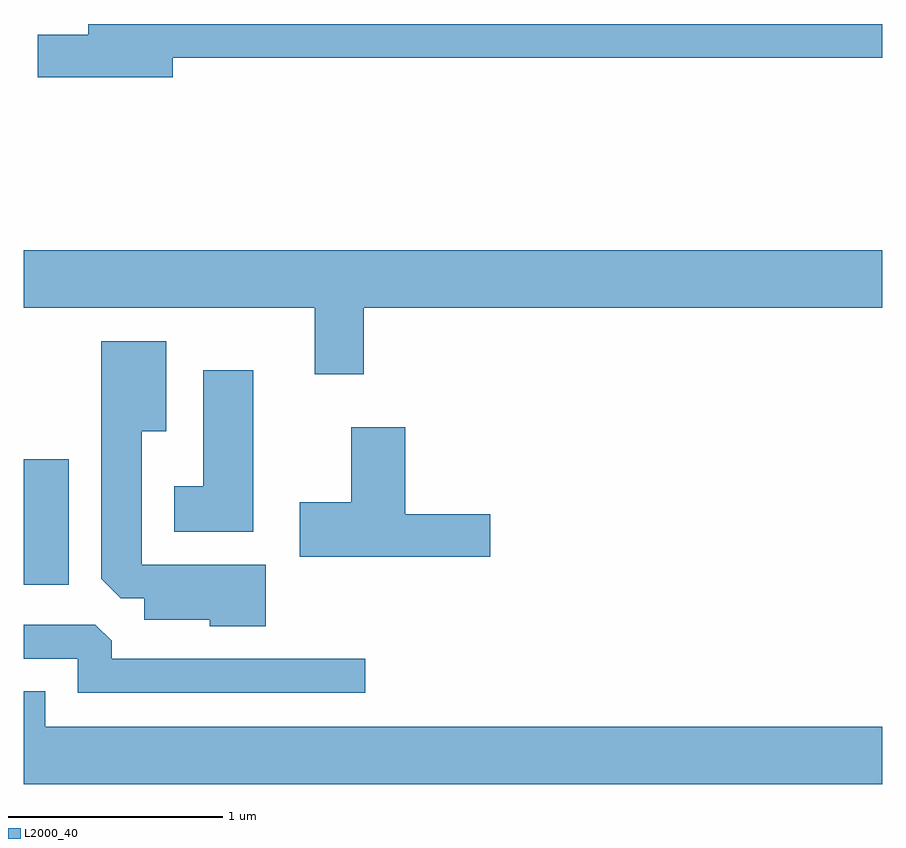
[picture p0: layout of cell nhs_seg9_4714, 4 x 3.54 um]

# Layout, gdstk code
import gdstk
lib = gdstk.Library(unit=1e-6, precision=1e-09)
def R(c, l, rs):  # rectangles x0, y0, x1, y1
    for r in rs: c.add(gdstk.rectangle(r[:2], r[2:], *l))
def P(c, l, *ps):  # polygons
    for p in ps: c.add(gdstk.Polygon(p, *l))
L2000_40 = (2000, 40)

nhs_seg9_4714 = lib.new_cell('nhs_seg9_4714')
R(nhs_seg9_4714, L2000_40, [(323.611,2041.586,323.819,2042.169)])
P(nhs_seg9_4714, L2000_40, [(324.304,2044.041),(327.611,2044.041),(327.611,2044.199),(323.911,2044.199),(323.911,2044.149),(323.676,2044.149),(323.676,2043.951),(324.304,2043.951)],
  [(325.194,2042.876),(327.611,2042.876),(327.611,2043.144),(323.611,2043.144),(323.611,2042.876),(324.966,2042.876),(324.966,2042.566),(325.194,2042.566)],
  [(324.739,2041.679),(324.159,2041.679),(324.159,2042.301),(324.274,2042.301),(324.274,2042.719),(323.971,2042.719),(323.971,2041.612),(324.062,2041.521),(324.171,2041.521),(324.171,2041.421),(324.476,2041.421),(324.476,2041.391),(324.739,2041.391)],
  [(324.679,2042.584),(324.446,2042.584),(324.446,2042.044),(324.311,2042.044),(324.311,2041.831),(324.679,2041.831)],
  [(325.784,2041.914),(325.389,2041.914),(325.389,2042.319),(325.136,2042.319),(325.136,2041.969),(324.896,2041.969),(324.896,2041.716),(325.784,2041.716)],
  [(325.203,2041.239),(324.019,2041.239),(324.019,2041.324),(323.944,2041.399),(323.611,2041.399),(323.611,2041.241),(323.861,2041.241),(323.861,2041.081),(325.203,2041.081)],
  [(327.611,2040.924),(323.709,2040.924),(323.709,2041.089),(323.611,2041.089),(323.611,2040.656),(327.611,2040.656)])

lib.write_gds('nhs_seg9_4714.gds')
